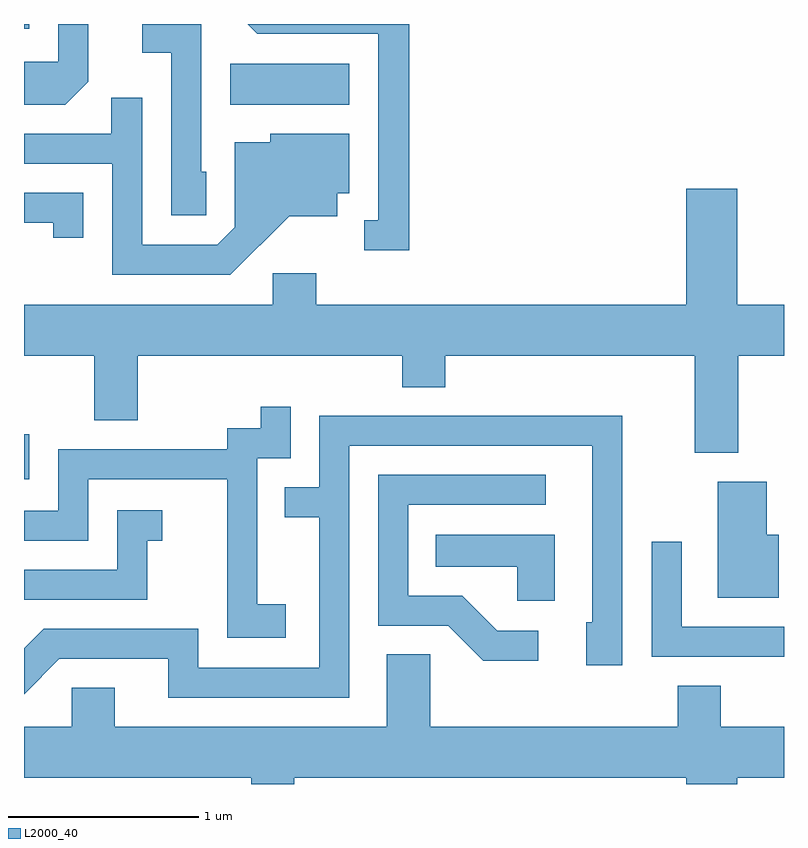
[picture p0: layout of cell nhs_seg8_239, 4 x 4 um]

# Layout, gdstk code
import gdstk
lib = gdstk.Library(unit=1e-6, precision=1e-09)
def R(c, l, rs):  # rectangles x0, y0, x1, y1
    for r in rs: c.add(gdstk.rectangle(r[:2], r[2:], *l))
def P(c, l, *ps):  # polygons
    for p in ps: c.add(gdstk.Polygon(p, *l))
L2000_40 = (2000, 40)

nhs_seg8_239 = lib.new_cell('nhs_seg8_239')
R(nhs_seg8_239, L2000_40, [(191.611,1877.946,191.639,1878.183), (192.696,1879.916,193.324,1880.134), (191.611,1880.316,191.639,1880.342)])
P(nhs_seg8_239, L2000_40, [(192.569,1879.564),(192.544,1879.564),(192.544,1880.342),(192.233,1880.342),(192.233,1880.191),(192.386,1880.191),(192.386,1879.336),(192.569,1879.336)],
  [(193.639,1880.342),(192.788,1880.342),(192.839,1880.291),(193.476,1880.291),(193.476,1879.309),(193.403,1879.309),(193.403,1879.151),(193.639,1879.151)],
  [(191.949,1880.039),(191.949,1880.342),(191.791,1880.342),(191.791,1880.144),(191.611,1880.144),(191.611,1879.916),(191.827,1879.916)],
  [(193.007,1879.331),(193.259,1879.331),(193.259,1879.451),(193.324,1879.451),(193.324,1879.764),(192.906,1879.764),(192.906,1879.719),(192.721,1879.719),(192.721,1879.272),(192.629,1879.179),(192.234,1879.179),(192.234,1879.953),(192.071,1879.953),(192.071,1879.764),(191.611,1879.764),(191.611,1879.606),(192.076,1879.606),(192.076,1879.021),(192.697,1879.021)],
  [(195.369,1878.596),(195.611,1878.596),(195.611,1878.864),(195.364,1878.864),(195.364,1879.474),(195.096,1879.474),(195.096,1878.864),(193.149,1878.864),(193.149,1879.029),(192.921,1879.029),(192.921,1878.864),(191.611,1878.864),(191.611,1878.596),(191.981,1878.596),(191.981,1878.256),(192.209,1878.256),(192.209,1878.596),(193.601,1878.596),(193.601,1878.431),(193.829,1878.431),(193.829,1878.596),(195.141,1878.596),(195.141,1878.086),(195.369,1878.086)],
  [(191.924,1879.454),(191.611,1879.454),(191.611,1879.296),(191.766,1879.296),(191.766,1879.218),(191.924,1879.218)],
  [(192.989,1877.289),(192.839,1877.289),(192.839,1878.056),(193.014,1878.056),(193.014,1878.328),(192.856,1878.328),(192.856,1878.214),(192.681,1878.214),(192.681,1878.104),(191.791,1878.104),(191.791,1877.779),(191.611,1877.779),(191.611,1877.621),(191.949,1877.621),(191.949,1877.946),(192.681,1877.946),(192.681,1877.111),(192.989,1877.111)],
  [(193.324,1878.121),(194.601,1878.121),(194.601,1877.194),(194.571,1877.194),(194.571,1876.966),(194.759,1876.966),(194.759,1878.279),(193.166,1878.279),(193.166,1877.904),(192.983,1877.904),(192.983,1877.746),(193.166,1877.746),(193.166,1876.954),(192.529,1876.954),(192.529,1877.159),(191.714,1877.159),(191.611,1877.056),(191.611,1876.815),(191.797,1877.001),(192.371,1877.001),(192.371,1876.796),(193.324,1876.796)],
  [(194.318,1877.149),(194.102,1877.149),(193.917,1877.334),(193.634,1877.334),(193.634,1877.811),(194.358,1877.811),(194.358,1877.969),(193.476,1877.969),(193.476,1877.176),(193.844,1877.176),(194.029,1876.991),(194.318,1876.991)],
  [(195.584,1877.654),(195.519,1877.654),(195.519,1877.934),(195.261,1877.934),(195.261,1877.321),(195.584,1877.321)],
  [(192.259,1877.621),(192.338,1877.621),(192.338,1877.784),(192.101,1877.784),(192.101,1877.469),(191.611,1877.469),(191.611,1877.311),(192.259,1877.311)],
  [(194.404,1877.654),(193.778,1877.654),(193.778,1877.486),(194.206,1877.486),(194.206,1877.306),(194.404,1877.306)],
  [(195.611,1877.169),(195.074,1877.169),(195.074,1877.618),(194.916,1877.618),(194.916,1877.011),(195.611,1877.011)],
  [(193.034,1876.376),(195.096,1876.376),(195.096,1876.342),(195.364,1876.342),(195.364,1876.376),(195.611,1876.376),(195.611,1876.644),(195.279,1876.644),(195.279,1876.859),(195.051,1876.859),(195.051,1876.644),(193.749,1876.644),(193.749,1877.024),(193.521,1877.024),(193.521,1876.644),(192.089,1876.644),(192.089,1876.849),(191.861,1876.849),(191.861,1876.644),(191.611,1876.644),(191.611,1876.376),(192.806,1876.376),(192.806,1876.342),(193.034,1876.342)])

lib.write_gds('nhs_seg8_239.gds')
